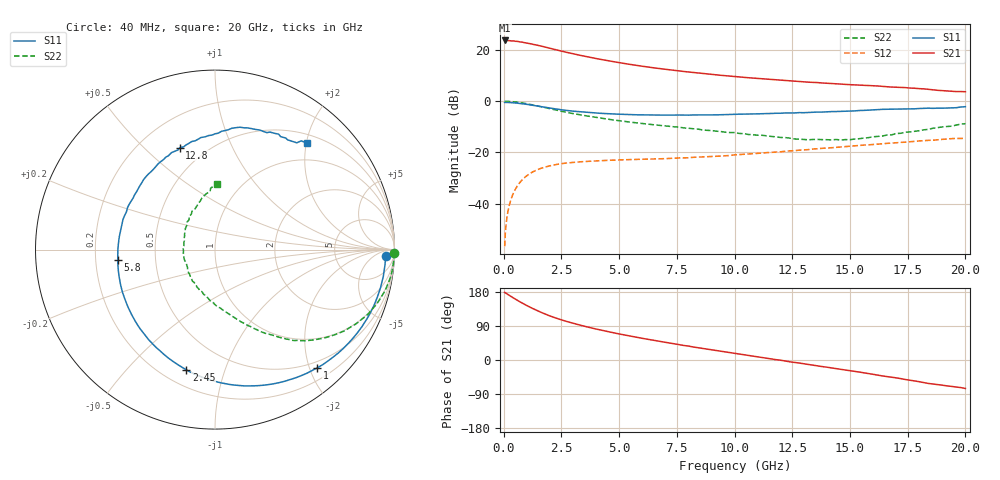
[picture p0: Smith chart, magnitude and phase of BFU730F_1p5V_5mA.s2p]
! Filename:  P:\Prog\Test\Noise\ATS_data\Testdata_Net\Split files Spar\BFU730_2W_B1_Bias4_1.5V_1mA_30mA_D.s2p
! Date/Time: Fri 29/Apr/2011 14:16:45
! BFU730_2W_B1_Bias4_1.5V_1mA_30mA_R.s2p
! MDIF S-parameter v. bias file
! BFU730_2W_B1_1.5V_1mA_30mA
! Date/time Thu Mar 17 13:45:32 2011
! VAR V_out= 1.5003
! VAR I_out= 4.9950
! VAR V_in= 0.7890
! VAR I_in= 0.0146
! Device data file deembeded for feedlines and parallel
! Original file: \Split files Spar\BFU730_2W_B1_Bias4_1.5V_1mA_30mA_R.s2p
! Feed-files: PR003V01_101208_Feed1.s2p, PR003V01_101208_Feed2.s2p
! Parallel-file: PR003V01_101208_Par.s2p
# MHz S MA R 50
!  Freq-MHz  S11-mag  S11-arg  S21-mag  S21-arg  S12-mag  S12-arg  S22-mag  S22-arg
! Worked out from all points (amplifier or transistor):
!   167 points, 40 MHz to 20 GHz, reference 50 ohm
!   highest |S21| = 23.8 dB at 50 MHz (marker M1)
!   |S21| within 3 dB of that: start of sweep to 1.983 GHz
!   unconditionally stable (mu >= 1): 7.094 GHz to 16.45 GHz
!   at 550 MHz: K = 0.06, MSG = 28.6 dB, |S12| = -33.7 dB
!   at 4.2 GHz: K = 0.61, MSG = 19.8 dB, |S12| = -23.2 dB
!   at 20 GHz: K = 0.84, MSG = 9.1 dB, |S12| = -14.5 dB
!   S11 on the Smith chart (normalised r, x): 40 MHz: 26, -19; 1 GHz: 0.39, -2.13; 2.45 GHz: 0.29, -0.75; 5.8 GHz: 0.30, -0.05; 12.8 GHz: 0.36, +0.65; 20 GHz: 0.66, +2.02
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40  0.9513 -2.1  15.48 178.6  0.001462 87.8  0.9981 -1.0
50  0.9468 -2.9  15.52 177.7  0.001515 91.6  0.9977 -1.4
60  0.9495 -2.9  15.33 177.5  0.002222 93.1  0.9986 -1.6
160  0.9495 -8.1  15.35 173.8  0.006044 86.2  0.997 -4.5
420  0.9352 -21.4  15.2 163.8  0.01591 78.7  0.9809 -11.8
650  0.9137 -32.7  14.7 155.4  0.02408 71.9  0.9533 -18.0
1000  0.8711 -49.1  13.83 143.7  0.03492 62.5  0.8973 -26.6
1350  0.823 -64.2  12.83 133.2  0.04354 54.4  0.8326 -34.0
1600  0.7888 -74.2  12.1 126.3  0.04853 49.4  0.788 -38.5
2000  0.7379 -88.9  10.93 116.3  0.05461 42.6  0.7185 -45.0
2450  0.6888 -103.5  9.733 106.9  0.05975 36.6  0.6455 -50.8
2900  0.6493 -116.1  8.705 98.7  0.06309 31.4  0.5867 -55.1
3400  0.6175 -128.5  7.799 90.6  0.06588 27.2  0.5367 -59.7
4400  0.5752 -149.8  6.368 76.3  0.06968 21.2  0.4547 -67.2
5800  0.5442 -173.9  5.007 59.5  0.07295 15.8  0.3764 -76.4
6800  0.5377 171.8  4.344 48.8  0.07517 13.7  0.3367 -83.1
8600  0.5397 149.6  3.497 30.6  0.0812 11.1  0.2759 -97.6
10200  0.5598 133.2  3.009 15.6  0.09065 9.8  0.2355 -113.1
12800  0.6009 109.1  2.454 -8.0  0.1109 4.2  0.1818 -148.2
13400  0.6088 104.0  2.349 -13.6  0.1165 1.6  0.1793 -160.1
16800  0.7018 75.0  1.901 -45.3  0.1519 -13.2  0.2203 131.0
20000  0.7845 49.0  1.539 -75.1  0.1891 -33.1  0.365 88.5
